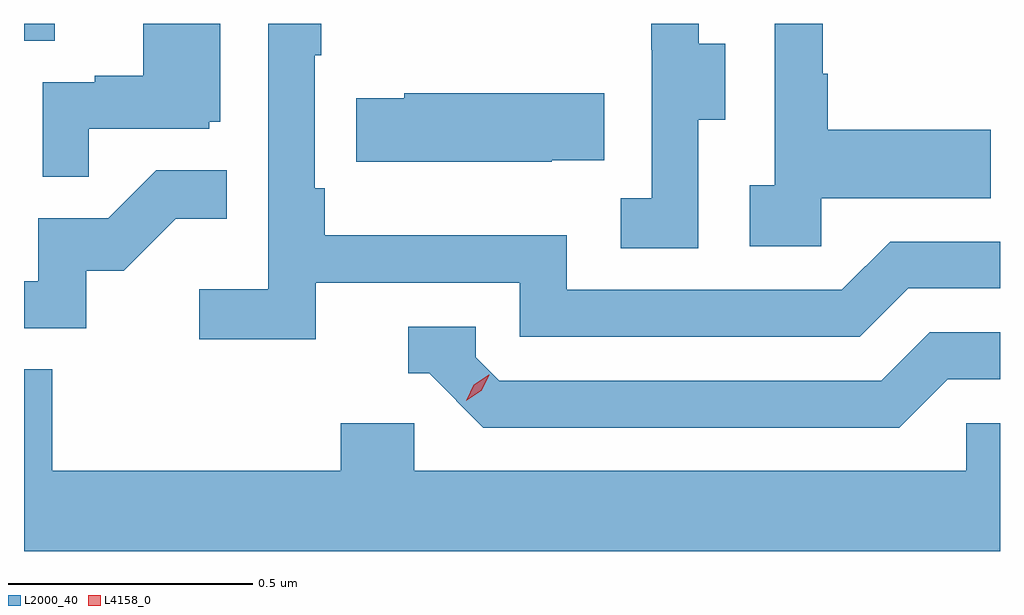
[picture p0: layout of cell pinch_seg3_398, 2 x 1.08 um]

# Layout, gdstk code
import gdstk
lib = gdstk.Library(unit=1e-6, precision=1e-09)
def R(c, l, rs):  # rectangles x0, y0, x1, y1
    for r in rs: c.add(gdstk.rectangle(r[:2], r[2:], *l))
def P(c, l, *ps):  # polygons
    for p in ps: c.add(gdstk.Polygon(p, *l))
L2000_40 = (2000, 40)
L4158_0 = (4158, 0)

pinch_seg3_398 = lib.new_cell('pinch_seg3_398')
R(pinch_seg3_398, L2000_40, [(935.44,707.29,935.503,707.324)])
P(pinch_seg3_398, L2000_40, [(937.074,706.967),(937.421,706.967),(937.421,707.107),(937.087,707.107),(937.087,707.222),(937.077,707.222),(937.077,707.324),(936.978,707.324),(936.978,706.994),(936.927,706.994),(936.927,706.869),(937.074,706.869)],
  [(936.822,707.128),(936.877,707.128),(936.877,707.283),(936.823,707.283),(936.823,707.324),(936.725,707.324),(936.725,707.271),(936.726,707.271),(936.726,706.967),(936.663,706.967),(936.663,706.864),(936.822,706.864)],
  [(936.038,706.794),(936.456,706.794),(936.456,706.683),(937.153,706.683),(937.252,706.782),(937.44,706.782),(937.44,706.878),(937.215,706.878),(937.116,706.779),(936.552,706.779),(936.552,706.891),(936.056,706.891),(936.056,706.987),(936.036,706.987),(936.036,707.26),(936.049,707.26),(936.049,707.324),(935.94,707.324),(935.94,706.78),(935.799,706.78),(935.799,706.678),(936.038,706.678)],
  [(935.573,707.109),(935.82,707.109),(935.82,707.124),(935.842,707.124),(935.842,707.324),(935.684,707.324),(935.684,707.218),(935.585,707.218),(935.585,707.205),(935.478,707.205),(935.478,707.011),(935.573,707.011)],
  [(936.521,707.045),(936.629,707.045),(936.629,707.182),(936.219,707.182),(936.219,707.172),(936.121,707.172),(936.121,707.042),(936.521,707.042)],
  [(935.568,706.818),(935.644,706.818),(935.751,706.925),(935.855,706.925),(935.855,707.024),(935.711,707.024),(935.613,706.926),(935.469,706.926),(935.469,706.797),(935.44,706.797),(935.44,706.701),(935.568,706.701)],
  [(937.333,706.596),(937.44,706.596),(937.44,706.692),(937.296,706.692),(937.197,706.593),(936.414,706.593),(936.366,706.641),(936.366,706.704),(936.227,706.704),(936.227,706.608),(936.27,706.608),(936.381,706.497),(937.234,706.497)],
  [(937.44,706.506),(937.371,706.506),(937.371,706.408),(936.24,706.408),(936.24,706.506),(936.089,706.506),(936.089,706.408),(935.498,706.408),(935.498,706.616),(935.44,706.616),(935.44,706.244),(937.44,706.244)])
P(pinch_seg3_398, L4158_0, [(936.346,706.552),(936.346,706.552),(936.362,706.585),(936.392,706.605),(936.393,706.605),(936.393,706.604),(936.377,706.572),(936.346,706.552)])

lib.write_gds('pinch_seg3_398.gds')
